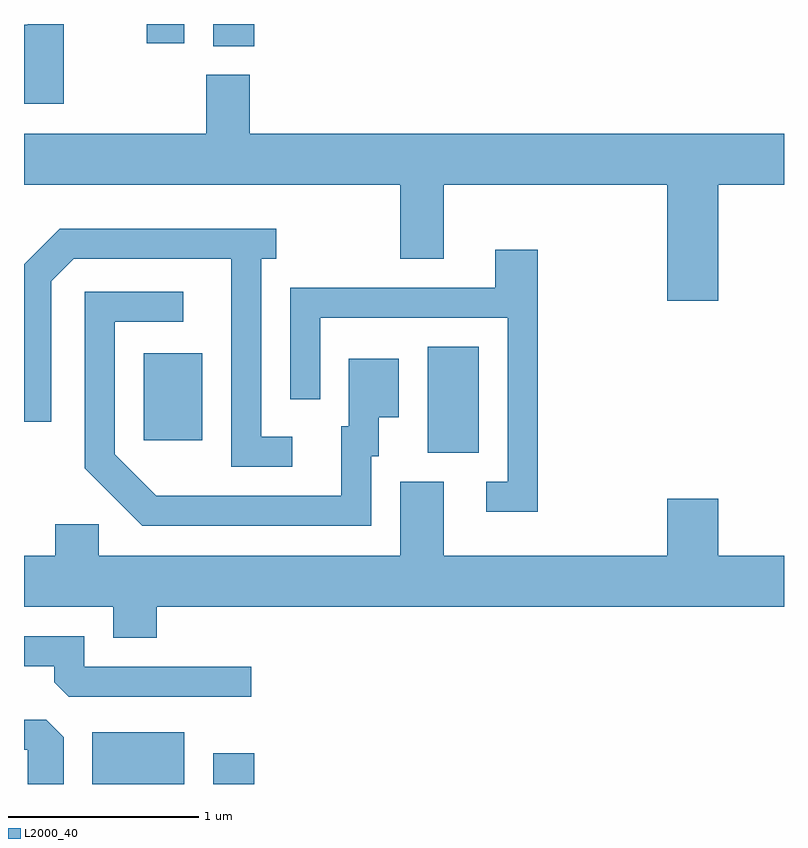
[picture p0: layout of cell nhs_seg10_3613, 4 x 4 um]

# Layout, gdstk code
import gdstk
lib = gdstk.Library(unit=1e-6, precision=1e-09)
def R(c, l, rs):  # rectangles x0, y0, x1, y1
    for r in rs: c.add(gdstk.rectangle(r[:2], r[2:], *l))
def P(c, l, *ps):  # polygons
    for p in ps: c.add(gdstk.Polygon(p, *l))
L2000_40 = (2000, 40)

nhs_seg10_3613 = lib.new_cell('nhs_seg10_3613')
R(nhs_seg10_3613, L2000_40, [(291.971,2128.522,292.454,2128.794), (292.606,2128.522,292.824,2128.684), (293.736,2130.266,294.004,2130.824), (292.241,2130.331,292.549,2130.789), (292.606,2132.406,292.824,2132.522), (292.256,2132.421,292.454,2132.522)])
P(nhs_seg10_3613, L2000_40, [(291.819,2132.522),(291.631,2132.522),(291.631,2132.519),(291.611,2132.519),(291.611,2132.101),(291.819,2132.101)],
  [(295.264,2131.676),(295.611,2131.676),(295.611,2131.944),(292.799,2131.944),(292.799,2132.254),(292.571,2132.254),(292.571,2131.944),(291.611,2131.944),(291.611,2131.676),(293.591,2131.676),(293.591,2131.286),(293.819,2131.286),(293.819,2131.676),(294.996,2131.676),(294.996,2131.066),(295.264,2131.066)],
  [(293.023,2130.349),(292.859,2130.349),(292.859,2131.286),(292.938,2131.286),(292.938,2131.444),(291.799,2131.444),(291.611,2131.257),(291.611,2130.428),(291.754,2130.428),(291.754,2131.169),(291.872,2131.286),(292.701,2131.286),(292.701,2130.191),(293.023,2130.191)],
  [(294.314,2131.334),(294.091,2131.334),(294.091,2131.134),(293.011,2131.134),(293.011,2130.548),(293.169,2130.548),(293.169,2130.976),(294.156,2130.976),(294.156,2130.114),(294.043,2130.114),(294.043,2129.956),(294.314,2129.956)],
  [(293.439,2130.246),(293.479,2130.246),(293.479,2130.451),(293.584,2130.451),(293.584,2130.759),(293.321,2130.759),(293.321,2130.404),(293.281,2130.404),(293.281,2130.039),(292.307,2130.039),(292.089,2130.257),(292.089,2130.956),(292.448,2130.956),(292.448,2131.114),(291.931,2131.114),(291.931,2130.184),(292.234,2129.881),(293.439,2129.881)],
  [(292.081,2129.291),(292.309,2129.291),(292.309,2129.456),(295.611,2129.456),(295.611,2129.724),(295.264,2129.724),(295.264,2130.024),(294.996,2130.024),(294.996,2129.724),(293.819,2129.724),(293.819,2130.114),(293.591,2130.114),(293.591,2129.724),(292.004,2129.724),(292.004,2129.889),(291.776,2129.889),(291.776,2129.724),(291.611,2129.724),(291.611,2129.456),(292.081,2129.456)],
  [(292.808,2129.139),(291.929,2129.139),(291.929,2129.299),(291.611,2129.299),(291.611,2129.141),(291.771,2129.141),(291.771,2129.057),(291.847,2128.981),(292.808,2128.981)],
  [(291.819,2128.769),(291.729,2128.859),(291.611,2128.859),(291.611,2128.701),(291.631,2128.701),(291.631,2128.522),(291.819,2128.522)])

lib.write_gds('nhs_seg10_3613.gds')
